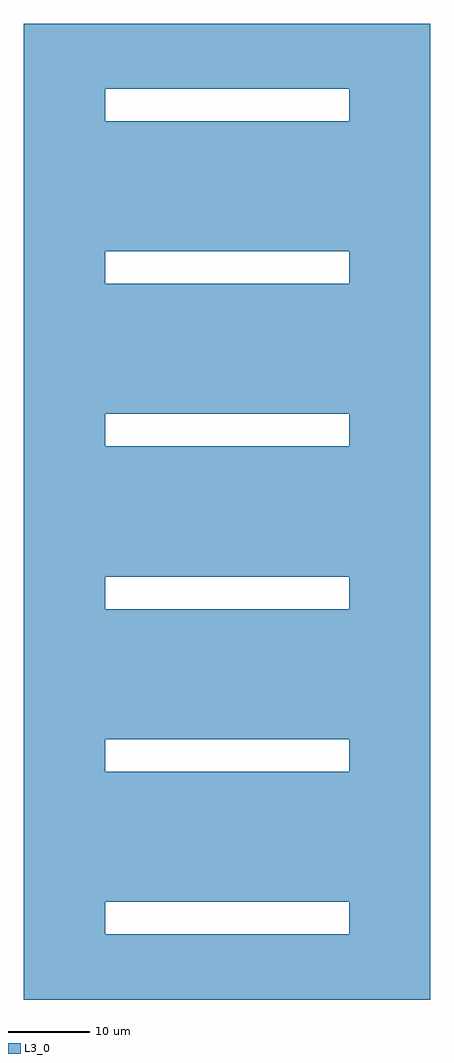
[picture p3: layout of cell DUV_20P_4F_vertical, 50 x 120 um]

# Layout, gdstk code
import gdstk
lib = gdstk.Library(unit=1e-6, precision=1e-09)
def P(c, l, *ps):  # polygons
    for p in ps: c.add(gdstk.Polygon(p, *l))
L3_0 = (3, 0)

duv_20p_4f_vertical_inst = lib.new_cell('DUV_20P_4F_vertical_instance')
P(duv_20p_4f_vertical_inst, L3_0, [(-25,0),(-15,0),(-15,12),(15,12),(15,8),(-15,8),(-15,0),(25,0),(25,20),(-25,20)])

duv_20p_4f_vertical = lib.new_cell('DUV_20P_4F_vertical')
r = gdstk.Reference(duv_20p_4f_vertical_inst, (0,-60)); r.repetition = gdstk.Repetition(1, 6, v1=(50,0), v2=(0,20)); duv_20p_4f_vertical.add(r)

lib.write_gds('DUV_20P_4F_vertical.gds')
